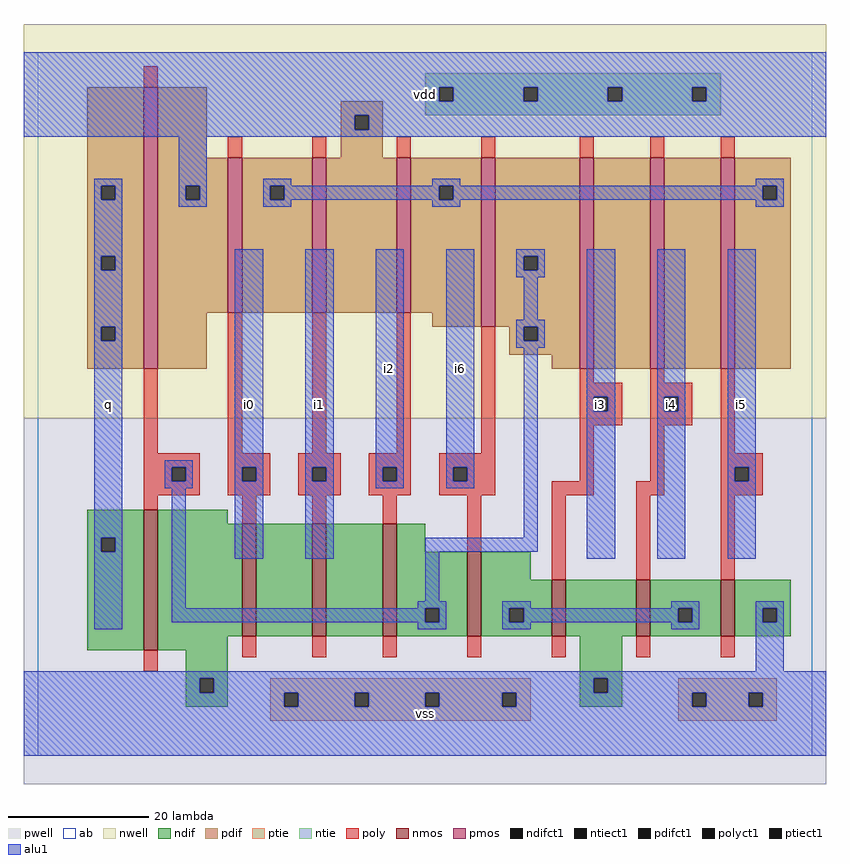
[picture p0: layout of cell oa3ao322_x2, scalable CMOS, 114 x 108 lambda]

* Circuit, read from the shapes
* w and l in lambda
.subckt oa3ao322_x2 i0 i1 i2 i3 i4 i5 i6 q vdd vss
M1 vss n1 q vss nfet w=20 l=2
M2 n2 i0 vss vss nfet w=16 l=2
M3 n3 i1 n2 vss nfet w=16 l=2
M4 n1 i2 n3 vss nfet w=16 l=2
M5 n4 i6 n1 vss nfet w=12 l=2
M6 vss i3 n4 vss nfet w=8 l=2
M7 n4 i4 vss vss nfet w=8 l=2
M8 vss i5 n4 vss nfet w=8 l=2
M9 vdd n1 q vdd pfet w=40 l=2
M10 n5 i0 vdd vdd pfet w=22 l=2
M11 vdd i1 n5 vdd pfet w=22 l=2
M12 n5 i2 vdd vdd pfet w=22 l=2
M13 n1 i6 n5 vdd pfet w=24 l=2
M14 n6 i3 n1 vdd pfet w=30 l=2
M15 n7 i4 n6 vdd pfet w=30 l=2
M16 n5 i5 n7 vdd pfet w=30 l=2
.ends

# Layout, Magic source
magic
tech scmos
<< ab >>
rect 0 0 110 100
<< nwell >>
rect -2 48 112 104
<< pwell >>
rect -2 -4 112 48
<< poly >>
rect 15 95 17 98
rect 27 85 29 88
rect 39 85 41 88
rect 51 85 53 88
rect 63 85 65 88
rect 77 85 79 88
rect 87 85 89 88
rect 97 85 99 88
rect 15 43 17 55
rect 27 43 29 63
rect 39 43 41 63
rect 51 43 53 63
rect 63 43 65 61
rect 15 41 23 43
rect 15 39 19 41
rect 21 39 23 41
rect 15 37 23 39
rect 27 41 33 43
rect 27 39 29 41
rect 31 39 33 41
rect 27 37 33 39
rect 37 41 43 43
rect 37 39 39 41
rect 41 39 43 41
rect 37 37 43 39
rect 47 41 53 43
rect 47 39 49 41
rect 51 39 53 41
rect 47 37 53 39
rect 57 41 65 43
rect 57 39 59 41
rect 61 39 65 41
rect 77 53 79 55
rect 87 53 89 55
rect 77 51 83 53
rect 77 49 79 51
rect 81 49 83 51
rect 77 47 83 49
rect 87 51 93 53
rect 87 49 89 51
rect 91 49 93 51
rect 87 47 93 49
rect 77 39 79 47
rect 87 39 89 47
rect 57 37 65 39
rect 73 37 79 39
rect 85 37 89 39
rect 97 43 99 55
rect 97 41 103 43
rect 97 39 99 41
rect 101 39 103 41
rect 97 37 103 39
rect 15 35 17 37
rect 29 33 31 37
rect 39 33 41 37
rect 49 33 51 37
rect 61 29 63 37
rect 73 25 75 37
rect 85 25 87 37
rect 97 25 99 37
rect 15 12 17 15
rect 29 14 31 17
rect 39 14 41 17
rect 49 14 51 17
rect 61 14 63 17
rect 73 14 75 17
rect 85 14 87 17
rect 97 14 99 17
<< ndif >>
rect 7 31 15 35
rect 7 29 9 31
rect 11 29 15 31
rect 7 15 15 29
rect 17 33 27 35
rect 17 17 29 33
rect 31 17 39 33
rect 41 17 49 33
rect 51 29 55 33
rect 51 21 61 29
rect 51 19 55 21
rect 57 19 61 21
rect 51 17 61 19
rect 63 25 70 29
rect 63 21 73 25
rect 63 19 67 21
rect 69 19 73 21
rect 63 17 73 19
rect 75 17 85 25
rect 87 21 97 25
rect 87 19 91 21
rect 93 19 97 21
rect 87 17 97 19
rect 99 21 107 25
rect 99 19 103 21
rect 105 19 107 21
rect 99 17 107 19
rect 17 15 27 17
rect 21 11 27 15
rect 77 11 83 17
rect 21 9 23 11
rect 25 9 27 11
rect 21 7 27 9
rect 77 9 79 11
rect 81 9 83 11
rect 77 7 83 9
<< pdif >>
rect 7 81 15 95
rect 7 79 9 81
rect 11 79 15 81
rect 7 71 15 79
rect 7 69 9 71
rect 11 69 15 71
rect 7 61 15 69
rect 7 59 9 61
rect 11 59 15 61
rect 7 55 15 59
rect 17 85 24 95
rect 43 91 49 93
rect 43 89 45 91
rect 47 89 49 91
rect 43 85 49 89
rect 17 81 27 85
rect 17 79 21 81
rect 23 79 27 81
rect 17 63 27 79
rect 29 81 39 85
rect 29 79 33 81
rect 35 79 39 81
rect 29 63 39 79
rect 41 63 51 85
rect 53 81 63 85
rect 53 79 57 81
rect 59 79 63 81
rect 53 63 63 79
rect 17 55 24 63
rect 56 61 63 63
rect 65 71 77 85
rect 65 69 69 71
rect 71 69 77 71
rect 65 61 77 69
rect 67 59 69 61
rect 71 59 77 61
rect 67 57 77 59
rect 73 55 77 57
rect 79 55 87 85
rect 89 55 97 85
rect 99 81 107 85
rect 99 79 103 81
rect 105 79 107 81
rect 99 55 107 79
<< alu1 >>
rect -2 95 112 100
rect -2 93 57 95
rect 59 93 69 95
rect 71 93 81 95
rect 83 93 93 95
rect 95 93 112 95
rect -2 91 112 93
rect -2 89 45 91
rect 47 89 112 91
rect -2 88 112 89
rect 8 81 12 82
rect 8 79 9 81
rect 11 79 12 81
rect 8 71 12 79
rect 20 81 24 88
rect 20 79 21 81
rect 23 79 24 81
rect 20 78 24 79
rect 32 81 36 82
rect 56 81 60 82
rect 102 81 106 82
rect 32 79 33 81
rect 35 79 57 81
rect 59 79 103 81
rect 105 79 106 81
rect 32 78 36 79
rect 56 78 60 79
rect 102 78 106 79
rect 8 69 9 71
rect 11 69 12 71
rect 8 61 12 69
rect 8 59 9 61
rect 11 59 12 61
rect 8 31 12 59
rect 18 41 22 42
rect 18 39 19 41
rect 21 39 22 41
rect 18 38 22 39
rect 28 41 32 72
rect 28 39 29 41
rect 31 39 32 41
rect 8 29 9 31
rect 11 29 12 31
rect 8 18 12 29
rect 19 21 21 38
rect 28 28 32 39
rect 38 41 42 72
rect 38 39 39 41
rect 41 39 42 41
rect 38 28 42 39
rect 48 41 52 72
rect 48 39 49 41
rect 51 39 52 41
rect 48 38 52 39
rect 58 41 62 72
rect 68 71 72 72
rect 68 69 69 71
rect 71 69 72 71
rect 68 68 72 69
rect 69 62 71 68
rect 68 61 72 62
rect 68 59 69 61
rect 71 59 72 61
rect 68 58 72 59
rect 58 39 59 41
rect 61 39 62 41
rect 58 38 62 39
rect 69 31 71 58
rect 55 29 71 31
rect 78 51 82 72
rect 78 49 79 51
rect 81 49 82 51
rect 55 22 57 29
rect 78 28 82 49
rect 88 51 92 72
rect 88 49 89 51
rect 91 49 92 51
rect 88 28 92 49
rect 98 41 102 72
rect 98 39 99 41
rect 101 39 102 41
rect 98 28 102 39
rect 54 21 58 22
rect 19 19 55 21
rect 57 19 58 21
rect 54 18 58 19
rect 66 21 70 22
rect 90 21 94 22
rect 66 19 67 21
rect 69 19 91 21
rect 93 19 94 21
rect 66 18 70 19
rect 90 18 94 19
rect 102 21 106 22
rect 102 19 103 21
rect 105 19 106 21
rect 102 12 106 19
rect -2 11 112 12
rect -2 9 23 11
rect 25 9 79 11
rect 81 9 112 11
rect -2 7 35 9
rect 37 7 45 9
rect 47 7 55 9
rect 57 7 66 9
rect 68 7 93 9
rect 95 7 101 9
rect 103 7 112 9
rect -2 0 112 7
<< ptie >>
rect 33 9 70 11
rect 33 7 35 9
rect 37 7 45 9
rect 47 7 55 9
rect 57 7 66 9
rect 68 7 70 9
rect 91 9 105 11
rect 91 7 93 9
rect 95 7 101 9
rect 103 7 105 9
rect 33 5 70 7
rect 91 5 105 7
<< ntie >>
rect 55 95 97 97
rect 55 93 57 95
rect 59 93 69 95
rect 71 93 81 95
rect 83 93 93 95
rect 95 93 97 95
rect 55 91 97 93
<< nmos >>
rect 15 15 17 35
rect 29 17 31 33
rect 39 17 41 33
rect 49 17 51 33
rect 61 17 63 29
rect 73 17 75 25
rect 85 17 87 25
rect 97 17 99 25
<< pmos >>
rect 15 55 17 95
rect 27 63 29 85
rect 39 63 41 85
rect 51 63 53 85
rect 63 61 65 85
rect 77 55 79 85
rect 87 55 89 85
rect 97 55 99 85
<< polyct1 >>
rect 19 39 21 41
rect 29 39 31 41
rect 39 39 41 41
rect 49 39 51 41
rect 59 39 61 41
rect 79 49 81 51
rect 89 49 91 51
rect 99 39 101 41
<< ndifct1 >>
rect 9 29 11 31
rect 55 19 57 21
rect 67 19 69 21
rect 91 19 93 21
rect 103 19 105 21
rect 23 9 25 11
rect 79 9 81 11
<< ntiect1 >>
rect 57 93 59 95
rect 69 93 71 95
rect 81 93 83 95
rect 93 93 95 95
<< ptiect1 >>
rect 35 7 37 9
rect 45 7 47 9
rect 55 7 57 9
rect 66 7 68 9
rect 93 7 95 9
rect 101 7 103 9
<< pdifct1 >>
rect 9 79 11 81
rect 9 69 11 71
rect 9 59 11 61
rect 45 89 47 91
rect 21 79 23 81
rect 33 79 35 81
rect 57 79 59 81
rect 69 69 71 71
rect 69 59 71 61
rect 103 79 105 81
<< labels >>
rlabel alu1 10 50 10 50 6 q
rlabel alu1 30 50 30 50 6 i0
rlabel alu1 55 6 55 6 6 vss
rlabel alu1 40 50 40 50 6 i1
rlabel alu1 60 55 60 55 6 i6
rlabel alu1 50 55 50 55 6 i2
rlabel alu1 55 94 55 94 6 vdd
rlabel polyct1 80 50 80 50 6 i3
rlabel polyct1 90 50 90 50 6 i4
rlabel alu1 100 50 100 50 6 i5
<< end >>
